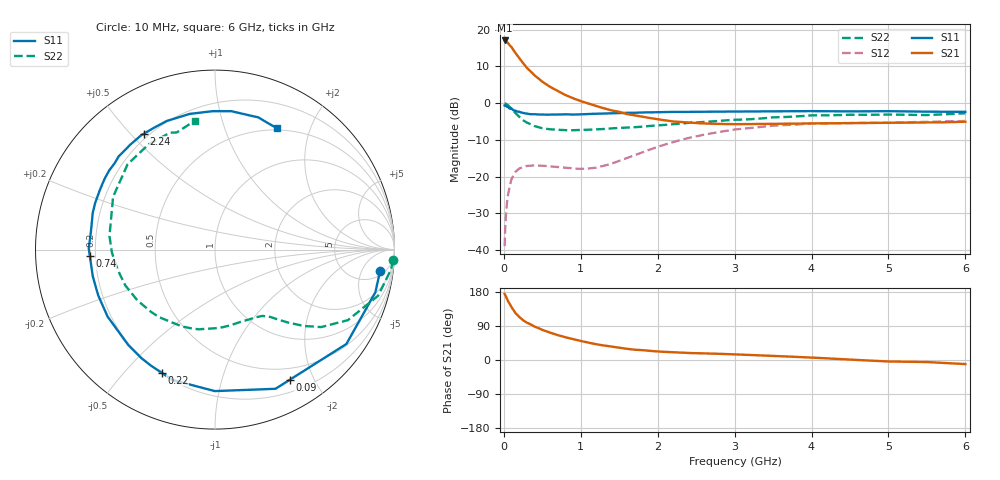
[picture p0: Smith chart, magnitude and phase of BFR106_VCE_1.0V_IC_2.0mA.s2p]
! Infineon Technologies  Discrete & RF Semiconductors
! BFR106
! VCE =  1.0 V,  IC =  2.0 mA
! Common Emitter S-Parameters:  Nov 2015
# GHz  S  MA  R  50
!  f  S11  S21  S12  S22
! GHz  MAG  ANG  MAG  ANG  MAG  ANG  MAG  ANG
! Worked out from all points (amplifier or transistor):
!   210 points, 10 MHz to 6 GHz, reference 50 ohm
!   highest |S21| = 17.0 dB at 10 MHz (marker M1)
!   |S21| within 3 dB of that: start of sweep to 137 MHz
!   unconditionally stable (mu >= 1): 762.2 MHz to end of sweep
!   at 185 MHz: K = 0.26, MSG = 15.4 dB, |S12| = -18.1 dB
!   at 1.52 GHz: K = 1.29, MAG = 3.3 dB, |S12| = -15.6 dB
!   at 6 GHz: K = 1.03, MAG = -1.1 dB, |S12| = -4.9 dB
!   S11 on the Smith chart (normalised r, x): 10 MHz: 7, -12; 90 MHz: 0.35, -1.67; 220 MHz: 0.20, -0.64; 740 MHz: 0.18, -0.02; 2.24 GHz: 0.18, +0.55; 6 GHz: 0.48, +1.52
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0.01  0.9276 -7.4  7.106 174.6  0.0113 88.3  0.9955 -3.4
0.025  0.9125 -18.3  6.941 168.6  0.0272 79.2  0.9774 -8.1
0.05  0.9013 -35.7  6.627 156.8  0.0534 70.1  0.9443 -15.8
0.09  0.8364 -60.2  5.901 142.9  0.0845 56.3  0.8561 -25.3
0.1  0.8456 -66.5  5.782 138.9  0.0927 54.3  0.8382 -28.0
0.15  0.7883 -90.1  4.815 123.8  0.1157 42.5  0.731 -36.2
0.2  0.7639 -108.0  4.105 113.6  0.1286 35.0  0.6491 -40.9
0.22  0.7475 -113.5  3.847 110.4  0.1312 32.6  0.6223 -42.2
0.26  0.7308 -124.0  3.39 103.6  0.1362 28.5  0.5746 -45.0
0.3  0.7184 -132.3  3.01 98.5  0.1394 25.8  0.5424 -46.9
0.4  0.7053 -148.1  2.38 88.0  0.1421 20.8  0.4857 -50.6
0.5  0.6989 -158.7  1.954 79.4  0.1406 18.6  0.4544 -54.4
0.6  0.697 -167.6  1.664 72.1  0.1376 17.9  0.4396 -58.8
0.74  0.6985 -177.2  1.386 63.5  0.1332 19.4  0.431 -65.5
1.02  0.7033 167.2  1.047 49.3  0.1276 28.7  0.431 -79.8
1.4  0.7252 150.8  0.794 35.4  0.1497 46.3  0.4531 -101.3
2.02  0.7515 128.6  0.597 22.3  0.2575 53.9  0.4986 -137.0
2.24  0.7577 121.6  0.558 19.8  0.3024 51.4  0.5194 -149.1
3.1  0.7678 98.7  0.517 14.1  0.4463 34.2  0.596 168.5
4.1  0.7748 82.0  0.529 5.4  0.5257 14.4  0.68 133.0
5.1  0.7726 71.0  0.538 -4.2  0.5441 0.3  0.6955 110.4
6  0.7595 63.1  0.557 -10.8  0.5699 -9.0  0.726 99.0
